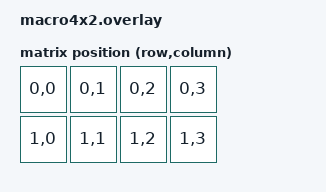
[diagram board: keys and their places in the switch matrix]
// 4x2.overlay
/ {
    chosen {
        zmk,kscan = &kscan0;
        zmk,matrix-transform = &default_transform;
    };

    kscan0: kscan {
        compatible = "zmk,kscan-gpio-matrix";
        // define row-gpios with 2 elements and col-gpios with 4...
    };

    default_transform: matrix_transform {
        compatible = "zmk,matrix-transform";
        rows = <2>;
        columns = <4>;
        // ┌───┬───┬───┬───┐
        // │NUM│ / │ * │ - │
        // ├───┼───┼───┼───┤
        // │ 7 │ 8 │ 9 │ + │
        // └───┴───┴───┴───┘
        map = <
            RC(0,0) RC(0,1) RC(0,2) RC(0,3)
            RC(1,0) RC(1,1) RC(1,2) RC(1,3)
        
        >;
    };
};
